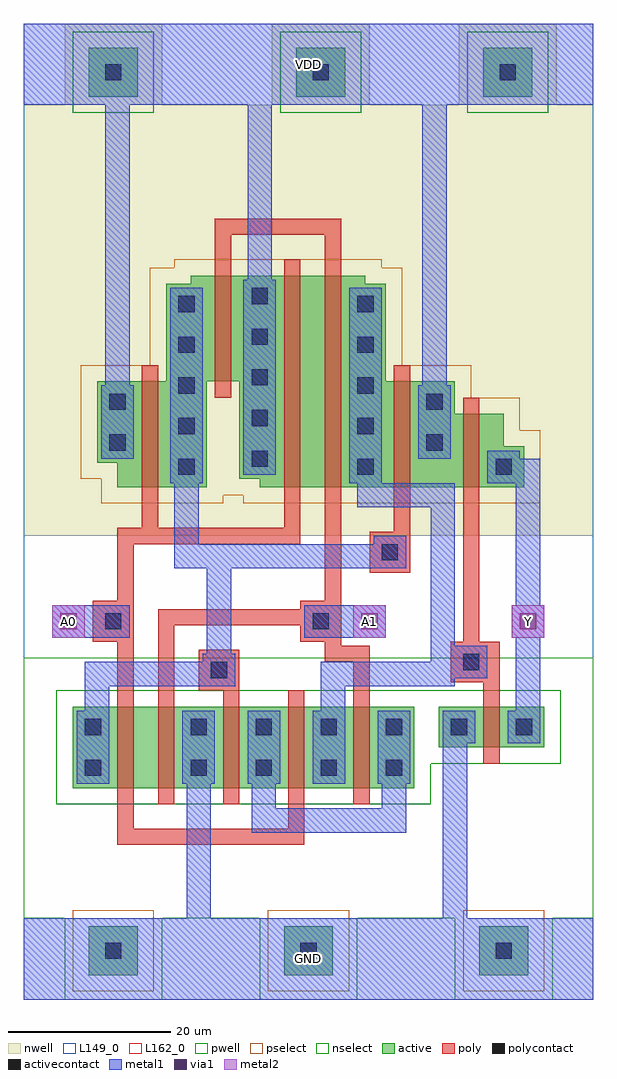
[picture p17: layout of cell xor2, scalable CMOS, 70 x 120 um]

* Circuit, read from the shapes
.subckt xor2 A0 A1 GND VDD Y
M1 n1 A0 n2 GND nfet w=10u l=2u
M2 GND A1 n1 GND nfet w=10u l=2u
M3 n3 n2 GND GND nfet w=10u l=2u
M4 n4 A0 n3 GND nfet w=10u l=2u
M5 n3 A1 n4 GND nfet w=10u l=2u
M6 Y n4 GND GND nfet w=5u l=2u
M7 n2 A0 VDD VDD pfet w=13u l=2u
M8 VDD A1 n2 VDD pfet w=13u l=2u
M9 n5 A0 VDD VDD pfet w=26u l=2u
M10 n4 A1 n5 VDD pfet w=26u l=2u
M11 VDD n2 n4 VDD pfet w=13u l=2u
M12 Y n4 VDD VDD pfet w=9u l=2u
.ends

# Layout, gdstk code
import gdstk
lib = gdstk.Library(unit=1e-6, precision=1e-09)
def R(c, l, rs):  # rectangles x0, y0, x1, y1
    for r in rs: c.add(gdstk.rectangle(r[:2], r[2:], *l))
def A(c, l, x, y, w, h, nx, ny, dx, dy):  # array of equal rectangles
    R(c, l, [(x+i*dx, y+j*dy, x+i*dx+w, y+j*dy+h) for i in range(nx) for j in range(ny)])
def P(c, l, *ps):  # polygons
    for p in ps: c.add(gdstk.Polygon(p, *l))
pwell = (41, 0)
nwell = (42, 0)
active = (43, 0)
pselect = (44, 0)
nselect = (45, 0)
poly = (46, 0)
polycontact = (47, 0)
activecontact = (48, 0)
metal1 = (49, 0)
via1 = (50, 0)
metal2 = (51, 0)
L149_0 = (149, 0)
L162_0 = (162, 0)

pwell_contact = lib.new_cell('pwell_contact')
R(pwell_contact, pwell, [(-6,-6,6,5)])
R(pwell_contact, active, [(-3,-3,3,3)])
R(pwell_contact, pselect, [(-5,-5,5,5)])
R(pwell_contact, activecontact, [(-1,-1,1,1)])

nwell_contact = lib.new_cell('nwell_contact')
R(nwell_contact, nwell, [(-6,-5,6,6)])
R(nwell_contact, active, [(-3,-3,3,3)])
R(nwell_contact, nselect, [(-5,-5,5,5)])
R(nwell_contact, activecontact, [(-1,-1,1,1)])

via = lib.new_cell('via')
R(via, metal1, [(-2,-2,2,2)])
R(via, via1, [(-1,-1,1,1)])
R(via, metal2, [(-2,-2,2,2)])

xor2 = lib.new_cell('xor2')
R(xor2, pwell, [(0,10,70,20), (0,10,70,42), (0,20,54,42), (45,25,70,42)])
R(xor2, nwell, [(0,57,70,110), (0,95,70,110)])
P(xor2, nwell, [(5.5,57),(5.5,60),(3,60),(3,82),(11.5,82),(11.5,94),(14.5,94),(14.5,95),(48,95),(48,94),(50.5,94),(50.5,82),(59,82),(59,78),(65,78),(65,74),(67.5,74),(67.5,57)])
R(xor2, active, [(6,26,48,36), (51,31,64,36)])
P(xor2, active, [(11.5,63),(11.5,66),(9,66),(9,76),(17.5,76),(17.5,88),(20.5,88),(20.5,89),(42,89),(42,88),(44.5,88),(44.5,76),(53,76),(53,72),(59,72),(59,68),(61.5,68),(61.5,63),(29,63),(29,64),(26.5,64),(26.5,76),(22.5,76),(22.5,63)])
P(xor2, pselect, [(9.5,61),(9.5,64),(7,64),(7,78),(15.5,78),(15.5,90),(18.5,90),(18.5,91),(44,91),(44,90),(46.5,90),(46.5,78),(55,78),(55,74),(61,74),(61,70),(63.5,70),(63.5,61),(27,61),(27,62),(24.5,62),(24.5,61)])
R(xor2, nselect, [(4,24,50,38), (49,29,66,38)])
A(xor2, poly, 16.5, 24, 2, 2, 4, 2, 8, 12)
A(xor2, poly, 16.5, 26, 2, 10, 4, 1, 8, 0)
A(xor2, poly, 37, 61, 2, 2, 3, 1, 8.5, 0)
R(xor2, poly, [(11.5,24,13.5,26), (11.5,26,13.5,36), (56.5,29,58.5,31), (56.5,31,58.5,36), (11.5,36,13.5,38), (56.5,36,58.5,38), (21.5,38,26.5,43), (52.5,39,57.5,44), (8.5,44,13.5,49), (34,44,39,49), (42.5,52.5,47.5,57.5), (14.5,61,16.5,63), (32,61,34,63), (14.5,63,16.5,76), (32,63,34,89), (37,63,39,89), (45.5,63,47.5,76), (54,63,56,72), (54,72,56,74), (23.5,74,25.5,76), (14.5,76,16.5,78), (23.5,76,25.5,89), (45.5,76,47.5,78), (23.5,89,25.5,91), (32,89,34,91), (37,89,39,91)])
R(xor2, polycontact, [(23,39.5,25,41.5), (54,40.5,56,42.5), (10,45.5,12,47.5), (35.5,45.5,37.5,47.5), (44,54,46,56)])
A(xor2, activecontact, 20.5, 27.5, 2, 2, 4, 1, 8, 0)
A(xor2, activecontact, 20.5, 32.5, 2, 2, 6, 1, 8, 0)
A(xor2, activecontact, 19, 64.5, 2, 2, 1, 5, 0, 5)
A(xor2, activecontact, 41, 64.5, 2, 2, 1, 5, 0, 5)
A(xor2, activecontact, 28, 65.5, 2, 2, 1, 5, 0, 5)
R(xor2, activecontact, [(7.5,27.5,9.5,29.5), (7.5,32.5,9.5,34.5), (58,64.5,60,66.5), (10.5,67.5,12.5,69.5), (49.5,67.5,51.5,69.5), (10.5,72.5,12.5,74.5), (49.5,72.5,51.5,74.5)])
A(xor2, metal1, 19.5, 26.5, 4, 9, 4, 1, 8, 0)
R(xor2, metal1, [(0,0,70,10), (0,0,70,10), (6.5,26.5,10.5,35.5), (51.5,31.5,55.5,35.5), (59.5,31.5,63.5,35.5), (22,38.5,26,42.5), (53,39.5,57,43.5), (9,44.5,13,48.5), (34.5,44.5,38.5,48.5), (43,53,47,57), (18,63.5,22,87.5), (40,63.5,44,87.5), (57,63.5,61,67.5), (27,64.5,31,88.5), (9.5,66.5,13.5,75.5), (48.5,66.5,52.5,75.5), (0,110,70,120), (0,110,70,120)])
R(xor2, metal2, [(3.5,44.5,7.5,48.5), (40.5,44.5,44.5,48.5), (60,44.5,64,48.5)])
R(xor2, L149_0, [(0,0,70,10), (0,0,70,120), (22,38.5,26,42.5), (53,39.5,57,43.5), (9,44.5,13,48.5), (34.5,44.5,38.5,48.5), (43,53,47,57), (0,110,70,120)])
R(xor2, L162_0, [(3.5,44.5,7.5,48.5), (40.5,44.5,44.5,48.5), (60,44.5,64,48.5)])
xor2.add(gdstk.FlexPath([(7.5,46),(9,46)], 3, ends="flush", simple_path=True, layer=149, datatype=0))  # L149_0
xor2.add(gdstk.FlexPath([(43,54.5),(20,54.5),(20,63.5)], 3, ends="flush", simple_path=True, layer=149, datatype=0))  # L149_0
xor2.add(gdstk.FlexPath([(22,40),(9,40),(9,35.5)], 3, ends="flush", simple_path=True, layer=149, datatype=0))  # L149_0
xor2.add(gdstk.FlexPath([(53,31.5),(53,10)], 3, ends="flush", simple_path=True, layer=149, datatype=0))  # L149_0
xor2.add(gdstk.FlexPath([(29.5,26.5),(29.5,22),(45.5,22),(45.5,26.5)], 3, ends="flush", simple_path=True, layer=149, datatype=0))  # L149_0
xor2.add(gdstk.FlexPath([(11.5,75.5),(11.5,110)], 3, ends="flush", simple_path=True, layer=149, datatype=0))  # L149_0
xor2.add(gdstk.FlexPath([(29,88.5),(29,110)], 3, ends="flush", simple_path=True, layer=149, datatype=0))  # L149_0
xor2.add(gdstk.FlexPath([(38.5,46),(40.5,46)], 3, ends="flush", simple_path=True, layer=149, datatype=0))  # L149_0
xor2.add(gdstk.FlexPath([(38.5,47),(40.5,47)], 3, ends="flush", simple_path=True, layer=149, datatype=0))  # L149_0
xor2.add(gdstk.FlexPath([(50.5,75.5),(50.5,110)], 3, ends="flush", simple_path=True, layer=149, datatype=0))  # L149_0
xor2.add(gdstk.FlexPath([(24,42.5),(24,53)], 3, ends="flush", simple_path=True, layer=149, datatype=0))  # L149_0
xor2.add(gdstk.FlexPath([(42.5,63.5),(42.5,62),(51.5,62),(51.5,40),(38,40),(38,35.5)], 3, ends="flush", simple_path=True, layer=149, datatype=0))  # L149_0
xor2.add(gdstk.FlexPath([(21.5,26.5),(21.5,10)], 3, ends="flush", simple_path=True, layer=149, datatype=0))  # L149_0
xor2.add(gdstk.FlexPath([(62,35.5),(62,65),(57,65)], 3, ends="flush", simple_path=True, layer=149, datatype=0))  # L149_0
xor2.add(gdstk.FlexPath([(7.5,47),(9,47)], 3, ends="flush", simple_path=True, layer=149, datatype=0))  # L149_0
xor2.add(gdstk.FlexPath([(7.5,46),(9,46)], 3, ends="flush", simple_path=True, layer=49, datatype=0))  # metal1
xor2.add(gdstk.FlexPath([(43,54.5),(20,54.5),(20,63.5)], 3, ends="flush", simple_path=True, layer=49, datatype=0))  # metal1
xor2.add(gdstk.FlexPath([(22,40),(9,40),(9,35.5)], 3, ends="flush", simple_path=True, layer=49, datatype=0))  # metal1
xor2.add(gdstk.FlexPath([(53,31.5),(53,10)], 3, ends="flush", simple_path=True, layer=49, datatype=0))  # metal1
xor2.add(gdstk.FlexPath([(29.5,26.5),(29.5,22),(45.5,22),(45.5,26.5)], 3, ends="flush", simple_path=True, layer=49, datatype=0))  # metal1
xor2.add(gdstk.FlexPath([(11.5,75.5),(11.5,110)], 3, ends="flush", simple_path=True, layer=49, datatype=0))  # metal1
xor2.add(gdstk.FlexPath([(29,88.5),(29,110)], 3, ends="flush", simple_path=True, layer=49, datatype=0))  # metal1
xor2.add(gdstk.FlexPath([(38.5,46),(40.5,46)], 3, ends="flush", simple_path=True, layer=49, datatype=0))  # metal1
xor2.add(gdstk.FlexPath([(38.5,47),(40.5,47)], 3, ends="flush", simple_path=True, layer=49, datatype=0))  # metal1
xor2.add(gdstk.FlexPath([(50.5,75.5),(50.5,110)], 3, ends="flush", simple_path=True, layer=49, datatype=0))  # metal1
xor2.add(gdstk.FlexPath([(24,42.5),(24,53)], 3, ends="flush", simple_path=True, layer=49, datatype=0))  # metal1
xor2.add(gdstk.FlexPath([(42.5,63.5),(42.5,62),(51.5,62),(51.5,40),(38,40),(38,35.5)], 3, ends="flush", simple_path=True, layer=49, datatype=0))  # metal1
xor2.add(gdstk.FlexPath([(21.5,26.5),(21.5,10)], 3, ends="flush", simple_path=True, layer=49, datatype=0))  # metal1
xor2.add(gdstk.FlexPath([(62,35.5),(62,65),(57,65)], 3, ends="flush", simple_path=True, layer=49, datatype=0))  # metal1
xor2.add(gdstk.FlexPath([(7.5,47),(9,47)], 3, ends="flush", simple_path=True, layer=49, datatype=0))  # metal1
xor2.add(gdstk.FlexPath([(46.5,61),(46.5,57.5)], 2, ends="flush", simple_path=True, layer=46, datatype=0))  # poly
xor2.add(gdstk.FlexPath([(38,61),(38,42.5),(41.5,42.5),(41.5,38)], 2, ends="flush", simple_path=True, layer=46, datatype=0))  # poly
xor2.add(gdstk.FlexPath([(12.5,24),(12.5,20),(33.5,20),(33.5,24)], 2, ends="flush", simple_path=True, layer=46, datatype=0))  # poly
xor2.add(gdstk.FlexPath([(34,47),(17.5,47),(17.5,38)], 2, ends="flush", simple_path=True, layer=46, datatype=0))  # poly
xor2.add(gdstk.FlexPath([(12.5,38),(12.5,57),(15.5,57),(15.5,61)], 2, ends="flush", simple_path=True, layer=46, datatype=0))  # poly
xor2.add(gdstk.FlexPath([(38,91),(38,95),(24.5,95),(24.5,91)], 2, ends="flush", simple_path=True, layer=46, datatype=0))  # poly
xor2.add(gdstk.FlexPath([(33,61),(33,57),(16.5,57)], 2, ends="flush", simple_path=True, layer=46, datatype=0))  # poly
xor2.add(gdstk.FlexPath([(57.5,38),(57.5,43),(55,43),(55,61)], 2, ends="flush", simple_path=True, layer=46, datatype=0))  # poly
xor2.add(gdstk.Reference(pwell_contact, (35,6)))
xor2.add(gdstk.Reference(pwell_contact, (59,6)))
xor2.add(gdstk.Reference(pwell_contact, (11,6)))
xor2.add(gdstk.Reference(nwell_contact, (36.5,114)))
xor2.add(gdstk.Reference(nwell_contact, (59.5,114)))
xor2.add(gdstk.Reference(nwell_contact, (11,114)))
xor2.add(gdstk.Reference(via, (62,46.5)))
xor2.add(gdstk.Reference(via, (5.5,46.5)))
xor2.add(gdstk.Reference(via, (42.5,46.5)))
xor2.add(gdstk.Label('Y', (62,46.5), layer=3, texttype=0))
xor2.add(gdstk.Label('A0', (5.5,46.5), layer=3, texttype=0))
xor2.add(gdstk.Label('A1', (42.5,46.5), layer=3, texttype=0))
xor2.add(gdstk.Label('GND', (35,5), layer=2, texttype=0))
xor2.add(gdstk.Label('VDD', (35,115), layer=2, texttype=0))

lib.write_gds('xor2.gds')
